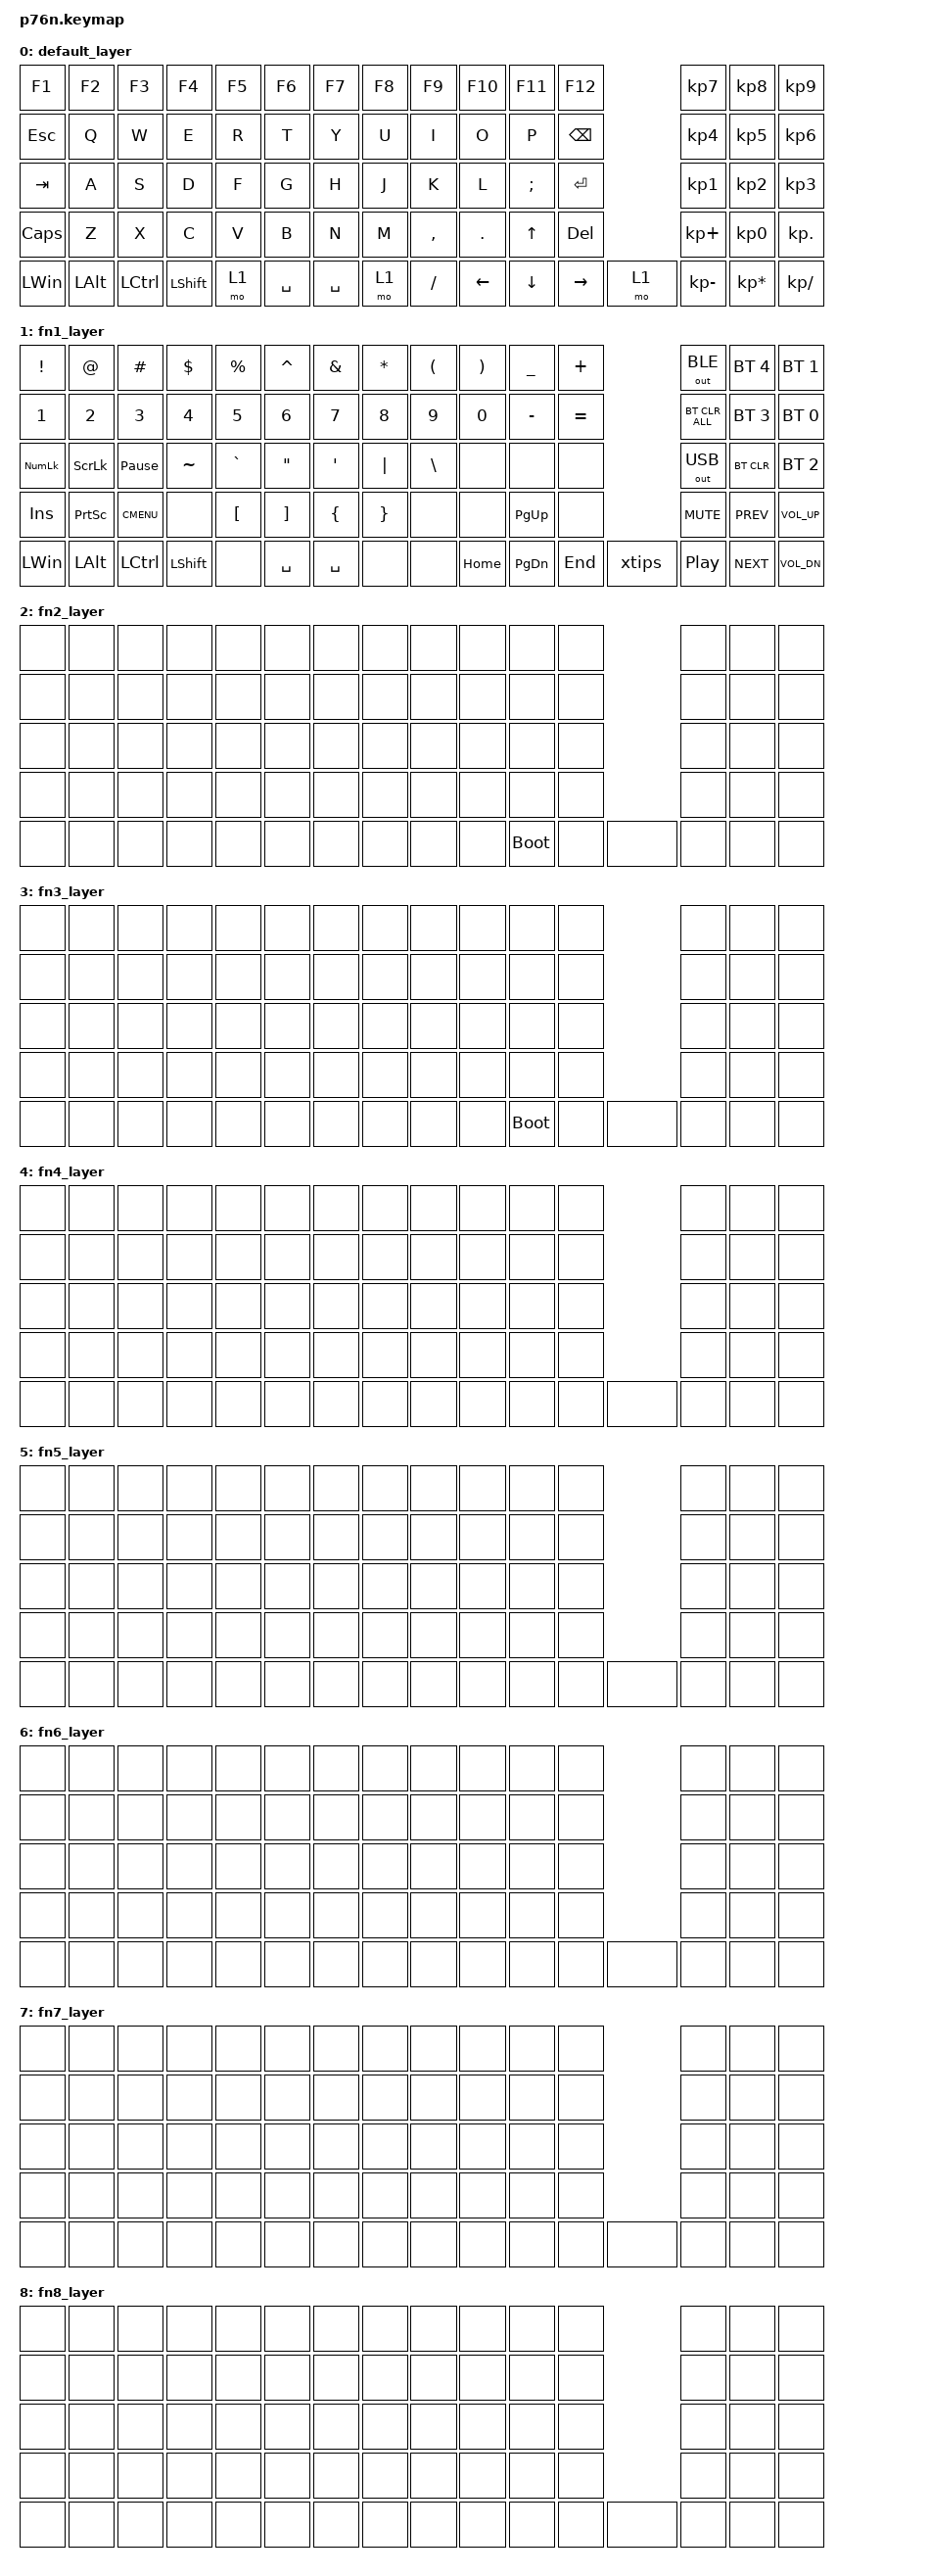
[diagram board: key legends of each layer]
/*
 * Copyright (c) 2020 The ZMK Contributors
 *
 * SPDX-License-Identifier: MIT
 */

#include <behaviors.dtsi>
#include <dt-bindings/zmk/keys.h>
#include <dt-bindings/zmk/rgb.h>
#include <dt-bindings/zmk/bt.h>
#include <dt-bindings/zmk/outputs.h>
#include <dt-bindings/zmk/ext_power.h>
#include <dt-bindings/zmk/mouse.h>

&soft_off { hold-time-ms = <2000>; };

/ {
    macros {
        xtips: xtips {
            compatible = "zmk,behavior-macro";
            label = "XTIPS";
            #binding-cells = <0>;
            bindings = <&kp LS(X) &kp KP_DOT &kp LS(T) &kp I &kp P &kp S>;
            wait-ms = <1>;
            tap-ms = <1>;
        };
    };

    keymap0: keymap {
        compatible = "zmk,keymap";

        default_layer {
            bindings = <
            &kp F1          &kp F2          &kp F3          &kp F4          &kp F5          &kp F6          &kp F7          &kp F8          &kp F9          &kp F10         &kp F11         &kp F12                         &kp KP_N7       &kp KP_N8       &kp KP_N9
            &kp ESC         &kp Q           &kp W           &kp E           &kp R           &kp T           &kp Y           &kp U           &kp I           &kp O           &kp P           &kp BSPC                        &kp KP_N4       &kp KP_N5       &kp KP_N6
            &kp TAB         &kp A           &kp S           &kp D           &kp F           &kp G           &kp H           &kp J           &kp K           &kp L           &kp SEMI        &kp ENTER                       &kp KP_N1       &kp KP_N2       &kp KP_N3
            &kp CAPS        &kp Z           &kp X           &kp C           &kp V           &kp B           &kp N           &kp M           &kp COMMA       &kp DOT         &kp UP          &kp DEL                         &kp KP_PLUS     &kp KP_N0       &kp KP_DOT
            &kp LWIN        &kp LALT        &kp LCTRL       &kp LSHFT       &mo 1           &kp SPACE       &kp SPACE       &mo 1           &kp SLASH       &kp LEFT        &kp DOWN        &kp RIGHT       &mo 1           &kp KP_MINUS    &kp KP_MULTIPLY &kp KP_DIVIDE
            >;
        };

        fn1_layer {
            bindings = <
            &kp EXCL        &kp AT          &kp HASH        &kp DLLR        &kp PRCNT       &kp CARET       &kp AMPS        &kp ASTRK       &kp LPAR        &kp RPAR        &kp UNDER       &kp PLUS                        &out OUT_BLE    &bt BT_SEL 4    &bt BT_SEL 1
            &kp N1          &kp N2          &kp N3          &kp N4          &kp N5          &kp N6          &kp N7          &kp N8          &kp N9          &kp N0          &kp MINUS       &kp EQUAL                       &bt BT_CLR_ALL  &bt BT_SEL 3    &bt BT_SEL 0
            &kp KP_NLCK     &kp SLCK        &kp PAUSE_BREAK &kp TILDE       &kp GRAVE       &kp DQT         &kp SQT         &kp PIPE        &kp BSLH        &none           &none           &none                           &out OUT_USB    &bt BT_CLR      &bt BT_SEL 2
            &kp INS         &kp PSCRN       &kp K_CMENU     &none           &kp LBKT        &kp RBKT        &kp LBRC        &kp RBRC        &none           &none           &kp PG_UP       &none                           &kp C_MUTE      &kp C_PREV      &kp C_VOL_UP
            &kp LWIN        &kp LALT        &kp LCTRL       &kp LSHFT       &none           &kp SPACE       &kp SPACE       &none           &none           &kp HOME        &kp PG_DN       &kp END         &xtips          &kp C_PP        &kp C_NEXT      &kp C_VOL_DN
            >;
        };

        fn2_layer {
            bindings = <
            &none           &none           &none           &none           &none           &none           &none           &none           &none           &none           &none           &none                           &none           &none           &none
            &none           &none           &none           &none           &none           &none           &none           &none           &none           &none           &none           &none                           &none           &none           &none
            &none           &none           &none           &none           &none           &none           &none           &none           &none           &none           &none           &none                           &none           &none           &none
            &none           &none           &none           &none           &none           &none           &none           &none           &none           &none           &none           &none                           &none           &none           &none
            &none           &none           &none           &none           &none           &none           &none           &none           &none           &none           &bootloader     &none           &none           &none           &none           &none
            >;
        };

        fn3_layer {
            bindings = <
            &none           &none           &none           &none           &none           &none           &none           &none           &none           &none           &none           &none                           &none           &none           &none
            &none           &none           &none           &none           &none           &none           &none           &none           &none           &none           &none           &none                           &none           &none           &none
            &none           &none           &none           &none           &none           &none           &none           &none           &none           &none           &none           &none                           &none           &none           &none
            &none           &none           &none           &none           &none           &none           &none           &none           &none           &none           &none           &none                           &none           &none           &none
            &none           &none           &none           &none           &none           &none           &none           &none           &none           &none           &bootloader     &none           &none           &none           &none           &none
            >;
        };

        fn4_layer {
            bindings = <
            &none           &none           &none           &none           &none           &none           &none           &none           &none           &none           &none           &none                           &none           &none           &none
            &none           &none           &none           &none           &none           &none           &none           &none           &none           &none           &none           &none                           &none           &none           &none
            &none           &none           &none           &none           &none           &none           &none           &none           &none           &none           &none           &none                           &none           &none           &none
            &none           &none           &none           &none           &none           &none           &none           &none           &none           &none           &none           &none                           &none           &none           &none
            &none           &none           &none           &none           &none           &none           &none           &none           &none           &none           &none           &none           &none           &none           &none           &none
            >;
        };

        fn5_layer {
            bindings = <
            &none           &none           &none           &none           &none           &none           &none           &none           &none           &none           &none           &none                           &none           &none           &none
            &none           &none           &none           &none           &none           &none           &none           &none           &none           &none           &none           &none                           &none           &none           &none
            &none           &none           &none           &none           &none           &none           &none           &none           &none           &none           &none           &none                           &none           &none           &none
            &none           &none           &none           &none           &none           &none           &none           &none           &none           &none           &none           &none                           &none           &none           &none
            &none           &none           &none           &none           &none           &none           &none           &none           &none           &none           &none           &none           &none           &none           &none           &none
            >;
        };

        fn6_layer {
            bindings = <
            &none           &none           &none           &none           &none           &none           &none           &none           &none           &none           &none           &none                           &none           &none           &none
            &none           &none           &none           &none           &none           &none           &none           &none           &none           &none           &none           &none                           &none           &none           &none
            &none           &none           &none           &none           &none           &none           &none           &none           &none           &none           &none           &none                           &none           &none           &none
            &none           &none           &none           &none           &none           &none           &none           &none           &none           &none           &none           &none                           &none           &none           &none
            &none           &none           &none           &none           &none           &none           &none           &none           &none           &none           &none           &none           &none           &none           &none           &none
            >;
        };

        fn7_layer {
            bindings = <
            &none           &none           &none           &none           &none           &none           &none           &none           &none           &none           &none           &none                           &none           &none           &none
            &none           &none           &none           &none           &none           &none           &none           &none           &none           &none           &none           &none                           &none           &none           &none
            &none           &none           &none           &none           &none           &none           &none           &none           &none           &none           &none           &none                           &none           &none           &none
            &none           &none           &none           &none           &none           &none           &none           &none           &none           &none           &none           &none                           &none           &none           &none
            &none           &none           &none           &none           &none           &none           &none           &none           &none           &none           &none           &none           &none           &none           &none           &none
            >;
        };

        fn8_layer {
            bindings = <
            &none           &none           &none           &none           &none           &none           &none           &none           &none           &none           &none           &none                           &none           &none           &none
            &none           &none           &none           &none           &none           &none           &none           &none           &none           &none           &none           &none                           &none           &none           &none
            &none           &none           &none           &none           &none           &none           &none           &none           &none           &none           &none           &none                           &none           &none           &none
            &none           &none           &none           &none           &none           &none           &none           &none           &none           &none           &none           &none                           &none           &none           &none
            &none           &none           &none           &none           &none           &none           &none           &none           &none           &none           &none           &none           &none           &none           &none           &none
            >;
        };
    };
};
